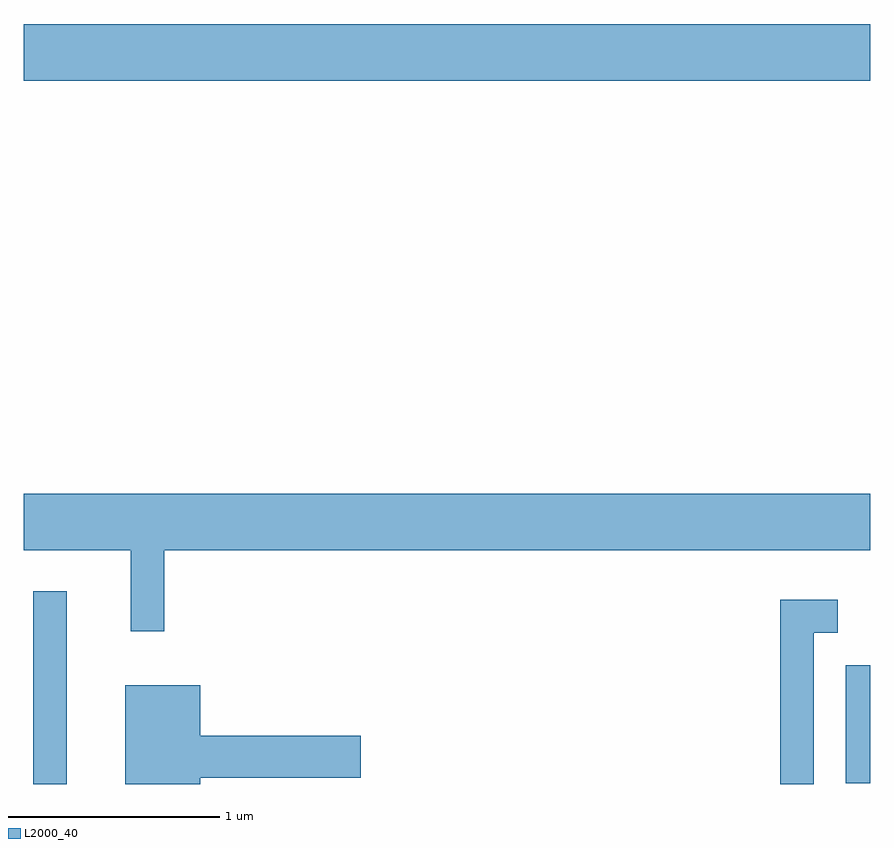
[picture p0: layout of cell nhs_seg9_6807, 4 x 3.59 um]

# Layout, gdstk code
import gdstk
lib = gdstk.Library(unit=1e-6, precision=1e-09)
def R(c, l, rs):  # rectangles x0, y0, x1, y1
    for r in rs: c.add(gdstk.rectangle(r[:2], r[2:], *l))
def P(c, l, *ps):  # polygons
    for p in ps: c.add(gdstk.Polygon(p, *l))
L2000_40 = (2000, 40)

nhs_seg9_6807 = lib.new_cell('nhs_seg9_6807')
R(nhs_seg9_6807, L2000_40, [(385.656,2048.432,385.814,2049.343), (389.496,2048.436,389.611,2048.994), (385.611,2051.756,389.611,2052.024)])
P(nhs_seg9_6807, L2000_40, [(386.274,2049.536),(389.611,2049.536),(389.611,2049.804),(385.611,2049.804),(385.611,2049.536),(386.116,2049.536),(386.116,2049.153),(386.274,2049.153)],
  [(389.344,2049.146),(389.458,2049.146),(389.458,2049.304),(389.186,2049.304),(389.186,2048.432),(389.344,2048.432)],
  [(386.444,2048.461),(387.204,2048.461),(387.204,2048.659),(386.444,2048.659),(386.444,2048.899),(386.091,2048.899),(386.091,2048.432),(386.444,2048.432)])

lib.write_gds('nhs_seg9_6807.gds')
